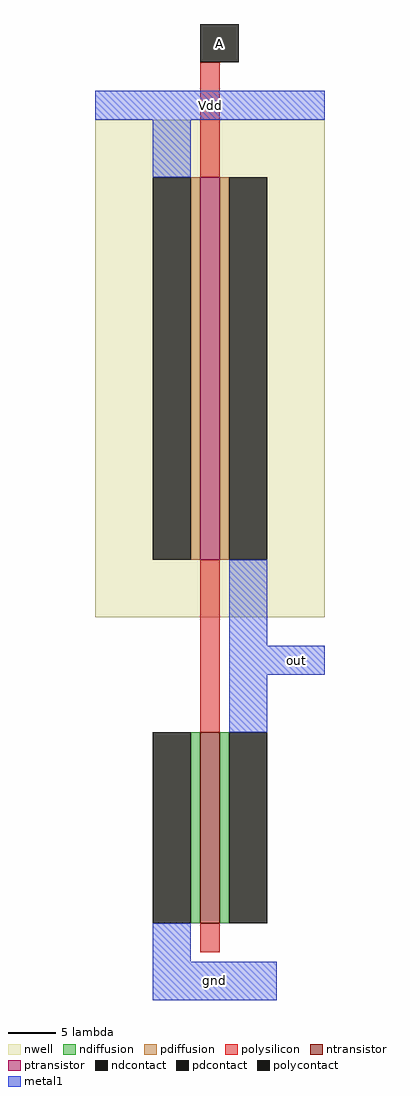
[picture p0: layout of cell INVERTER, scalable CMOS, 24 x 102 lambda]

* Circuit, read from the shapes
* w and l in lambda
.subckt INVERTER A Vdd gnd out
M1 out A gnd VSUBS nfet w=20 l=2
M2 out A Vdd n1 pfet w=40 l=2
.ends

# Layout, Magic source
magic
tech scmos
<< nwell >>
rect -6 -6 18 46
<< ntransistor >>
rect 5 -38 7 -18
<< ptransistor >>
rect 5 0 7 40
<< ndiffusion >>
rect 4 -38 5 -18
rect 7 -38 8 -18
<< pdiffusion >>
rect 4 0 5 40
rect 7 0 8 40
<< ndcontact >>
rect 0 -38 4 -18
rect 8 -38 12 -18
<< pdcontact >>
rect 0 0 4 40
rect 8 0 12 40
<< polysilicon >>
rect 5 40 7 52
rect 5 -18 7 0
rect 5 -41 7 -38
<< polycontact >>
rect 5 52 9 56
<< metal1 >>
rect -6 46 18 49
rect 0 40 4 46
rect 8 -9 12 0
rect 8 -12 18 -9
rect 8 -18 12 -12
rect 0 -42 4 -38
rect 0 -46 13 -42
<< labels >>
rlabel polycontact 5 52 9 56 5 A
rlabel metal1 -6 46 18 49 1 Vdd
rlabel metal1 12 -12 18 -9 7 out
rlabel metal1 0 -46 13 -42 1 gnd
<< end >>
